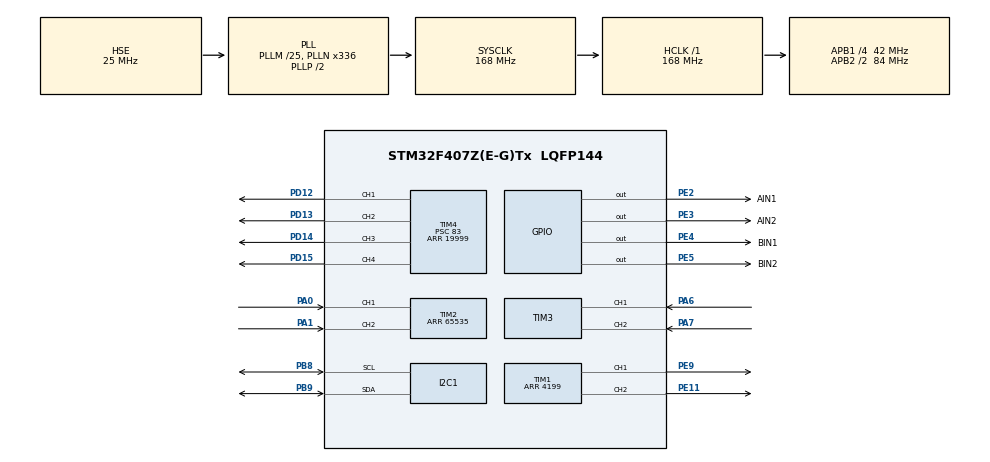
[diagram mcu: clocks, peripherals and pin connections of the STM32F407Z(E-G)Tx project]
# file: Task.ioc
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FREERTOS.Tasks01=ChassisTask,2,1024,StartChassisTask,Default,NULL,Dynamic,NULL,NULL;MissionTask,0,1024,StartMissionTask,Default,NULL,Dynamic,NULL,NULL
Mcu.Family=STM32F4
Mcu.Name=STM32F407Z(E-G)Tx
Mcu.Package=LQFP144
NVIC.PriorityGroup=NVIC_PRIORITYGROUP_4
NVIC.TIM6_DAC_IRQn=true\:15\:0\:false\:false\:true\:false\:false\:true\:true
NVIC.TimeBase=TIM6_DAC_IRQn
NVIC.TimeBaseIP=TIM6
PA0-WKUP.Signal=S_TIM2_CH1_ETR
PA1.Signal=S_TIM2_CH2
PA13.Mode=Serial_Wire
PA13.Signal=SYS_JTMS-SWDIO
PA14.Mode=Serial_Wire
PA14.Signal=SYS_JTCK-SWCLK
PA6.Signal=S_TIM3_CH1
PA7.Signal=S_TIM3_CH2
PB8.Mode=I2C
PB8.Signal=I2C1_SCL
PB9.Mode=I2C
PB9.Signal=I2C1_SDA
PD12.GPIO_Speed=GPIO_SPEED_FREQ_HIGH
PD12.Signal=S_TIM4_CH1
PD13.GPIO_Speed=GPIO_SPEED_FREQ_HIGH
PD13.Signal=S_TIM4_CH2
PD14.GPIO_Speed=GPIO_SPEED_FREQ_HIGH
PD14.Signal=S_TIM4_CH3
PD15.GPIO_Speed=GPIO_SPEED_FREQ_HIGH
PD15.Signal=S_TIM4_CH4
PE11.Signal=S_TIM1_CH2
PE2.GPIO_Label=AIN1
PE2.Signal=GPIO_Output
PE3.GPIO_Label=AIN2
PE3.Signal=GPIO_Output
PE4.GPIO_Label=BIN1
PE4.Signal=GPIO_Output
PE5.GPIO_Label=BIN2
PE5.Signal=GPIO_Output
PE9.Signal=S_TIM1_CH1
PH0-OSC_IN.Mode=HSE-External-Oscillator
PH0-OSC_IN.Signal=RCC_OSC_IN
PH1-OSC_OUT.Mode=HSE-External-Oscillator
PH1-OSC_OUT.Signal=RCC_OSC_OUT
ProjectManager.HeapSize=0x200
ProjectManager.StackSize=0x400
ProjectManager.TargetToolchain=MDK-ARM V5.32
RCC.48MHZClocksFreq_Value=84000000
RCC.AHBFreq_Value=168000000
RCC.APB1CLKDivider=RCC_HCLK_DIV4
RCC.APB1Freq_Value=42000000
RCC.APB1TimFreq_Value=84000000
RCC.APB2CLKDivider=RCC_HCLK_DIV2
RCC.APB2Freq_Value=84000000
RCC.APB2TimFreq_Value=168000000
RCC.CortexFreq_Value=168000000
RCC.HCLKFreq_Value=168000000
RCC.HSE_VALUE=25000000
RCC.HSI_VALUE=16000000
RCC.LSE_VALUE=32768
RCC.PLLM=25
RCC.PLLN=336
RCC.PLLSourceVirtual=RCC_PLLSOURCE_HSE
RCC.SYSCLKFreq_VALUE=168000000
RCC.SYSCLKSource=RCC_SYSCLKSOURCE_PLLCLK
RCC.VCOOutputFreq_Value=336000000
SH.S_TIM1_CH1.0=TIM1_CH1,Output Compare1 CH1
SH.S_TIM1_CH2.0=TIM1_CH2,Output Compare2 CH2
SH.S_TIM2_CH1_ETR.0=TIM2_CH1,Encoder_Interface
SH.S_TIM2_CH2.0=TIM2_CH2,Encoder_Interface
SH.S_TIM3_CH1.0=TIM3_CH1,Encoder_Interface
SH.S_TIM3_CH2.0=TIM3_CH2,Encoder_Interface
SH.S_TIM4_CH1.0=TIM4_CH1,PWM Generation1 CH1
SH.S_TIM4_CH2.0=TIM4_CH2,PWM Generation2 CH2
SH.S_TIM4_CH3.0=TIM4_CH3,PWM Generation3 CH3
SH.S_TIM4_CH4.0=TIM4_CH4,PWM Generation4 CH4
TIM1.Channel-Output\ Compare1\ CH1=TIM_CHANNEL_1
TIM1.Channel-Output\ Compare2\ CH2=TIM_CHANNEL_2
TIM1.Period=4199
TIM2.ClockDivision=TIM_CLOCKDIVISION_DIV1
TIM2.Period=65535
TIM4.Channel-PWM\ Generation1\ CH1=TIM_CHANNEL_1
TIM4.Channel-PWM\ Generation2\ CH2=TIM_CHANNEL_2
TIM4.Channel-PWM\ Generation3\ CH3=TIM_CHANNEL_3
TIM4.Channel-PWM\ Generation4\ CH4=TIM_CHANNEL_4
TIM4.Period=19999
TIM4.Prescaler=83
VP_FREERTOS_VS_CMSIS_V1.Mode=CMSIS_V1
VP_SYS_VS_tim6.Mode=TIM6
VP_TIM1_VS_ClockSourceINT.Mode=Internal
VP_TIM4_VS_ClockSourceINT.Mode=Internal
board=custom

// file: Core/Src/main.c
/* USER CODE BEGIN Header */
/**
  ******************************************************************************
  * @file           : main.c
  * @brief          : Main program body
  ******************************************************************************
  * @attention
  *
  * Copyright (c) 2026 STMicroelectronics.
  * All rights reserved.
  *
  * This software is licensed under terms that can be found in the LICENSE file
  * in the root directory of this software component.
  * If no LICENSE file comes with this software, it is provided AS-IS.
  *
  ******************************************************************************
  */
/* USER CODE END Header */
#include "main.h"
#include "cmsis_os.h"
#include "i2c.h"
#include "tim.h"
#include "gpio.h"

void SystemClock_Config(void);
void MX_FREERTOS_Init(void);

int main(void)
{

  /* MCU Configuration--------------------------------------------------------*/

  /* Reset of all peripherals, Initializes the Flash interface and the Systick. */
  HAL_Init();

  /* Configure the system clock */
  SystemClock_Config();

  /* Initialize all configured peripherals */
  MX_GPIO_Init();
  MX_TIM1_Init();
  MX_TIM2_Init();
  MX_TIM3_Init();
  MX_TIM4_Init();
  MX_I2C1_Init();
  /* USER CODE BEGIN 2 */

  // 高速模式
  GPIOE->OSPEEDR |= (3UL << 18) | (3UL << 22);

  // 3. 【核心修正】直接写定时器寄存器
  TIM1->CR1 = 0;              // 先关闭定时器，防干扰
  TIM1->PSC = 0;              // 分频 = 0 (168MHz)
  TIM1->ARR = 4199;           // 周期 = 4199 (40kHz)

  // 4. 【关键一步】产生更新事件 (Update Generation)
  // 这就像按下了 F5 刷新键，强制把 4199 写入影子寄存器，立即生效！
  TIM1->EGR = TIM_EGR_UG;

  // 5. 开启 PWM 通道
  // CCMR1: 配置 CH1/CH2 为 PWM 模式 1
  TIM1->CCMR1 &= ~TIM_CCMR1_OC1M; TIM1->CCMR1 |= (6UL << 4);  // CH1 PWM mode 1
  TIM1->CCMR1 &= ~TIM_CCMR1_OC2M; TIM1->CCMR1 |= (6UL << 12); // CH2 PWM mode 1
  // CCMR1: 开启预装载 (Preload enable)
  TIM1->CCMR1 |= TIM_CCMR1_OC1PE | TIM_CCMR1_OC2PE;

  // CCER: 开启输出使能 (Enable Output)
  TIM1->CCER |= TIM_CCER_CC1E | TIM_CCER_CC2E;

  // 6. 开启总开关 (BDTR MOE) 和 计数器 (CR1 CEN)
  TIM1->BDTR |= TIM_BDTR_MOE; // 主输出使能 (高级定时器必做!)
  TIM1->CR1  |= TIM_CR1_CEN;  // 开始计数

  // 7. 开启编码器 (TIM2/TIM3)
  HAL_TIM_Encoder_Start(&htim2, TIM_CHANNEL_ALL);
  HAL_TIM_Encoder_Start(&htim3, TIM_CHANNEL_ALL);

  /* USER CODE END 2 */

  /* Call init function for freertos objects (in cmsis_os2.c) */
  MX_FREERTOS_Init();

  /* Start scheduler */
  osKernelStart();

  /* We should never get here as control is now taken by the scheduler */

  /* Infinite loop */
  while (1)
  {

  }
}

void SystemClock_Config(void)
{
  RCC_OscInitTypeDef RCC_OscInitStruct = {0};
  RCC_ClkInitTypeDef RCC_ClkInitStruct = {0};

  /** Configure the main internal regulator output voltage
  */
  __HAL_RCC_PWR_CLK_ENABLE();
  __HAL_PWR_VOLTAGESCALING_CONFIG(PWR_REGULATOR_VOLTAGE_SCALE1);

  /** Initializes the RCC Oscillators according to the specified parameters
  * in the RCC_OscInitTypeDef structure.
  */
  RCC_OscInitStruct.OscillatorType = RCC_OSCILLATORTYPE_HSE;
  RCC_OscInitStruct.HSEState = RCC_HSE_ON;
  RCC_OscInitStruct.PLL.PLLState = RCC_PLL_ON;
  RCC_OscInitStruct.PLL.PLLSource = RCC_PLLSOURCE_HSE;
  RCC_OscInitStruct.PLL.PLLM = 25;
  RCC_OscInitStruct.PLL.PLLN = 336;
  RCC_OscInitStruct.PLL.PLLP = RCC_PLLP_DIV2;
  RCC_OscInitStruct.PLL.PLLQ = 4;
  if (HAL_RCC_OscConfig(&RCC_OscInitStruct) != HAL_OK)
  {
    Error_Handler();
  }

  /** Initializes the CPU, AHB and APB buses clocks
  */
  RCC_ClkInitStruct.ClockType = RCC_CLOCKTYPE_HCLK|RCC_CLOCKTYPE_SYSCLK
                              |RCC_CLOCKTYPE_PCLK1|RCC_CLOCKTYPE_PCLK2;
  RCC_ClkInitStruct.SYSCLKSource = RCC_SYSCLKSOURCE_PLLCLK;
  RCC_ClkInitStruct.AHBCLKDivider = RCC_SYSCLK_DIV1;
  RCC_ClkInitStruct.APB1CLKDivider = RCC_HCLK_DIV4;
  RCC_ClkInitStruct.APB2CLKDivider = RCC_HCLK_DIV2;

  if (HAL_RCC_ClockConfig(&RCC_ClkInitStruct, FLASH_LATENCY_5) != HAL_OK)
  {
    Error_Handler();
  }
}

void HAL_TIM_PeriodElapsedCallback(TIM_HandleTypeDef *htim)
{
  if (htim->Instance == TIM6)
  {
    HAL_IncTick();
  }
}

void Error_Handler(void)
{
  __disable_irq();
  while (1)
  {
  }
}

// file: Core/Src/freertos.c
/* USER CODE BEGIN Header */
/**
  ******************************************************************************
  * File Name          : freertos.c
  * Description        : Code for freertos applications
  ******************************************************************************
  * @attention
  *
  * Copyright (c) 2026 STMicroelectronics.
  * All rights reserved.
  *
  * This software is licensed under terms that can be found in the LICENSE file
  * in the root directory of this software component.
  * If no LICENSE file comes with this software, it is provided AS-IS.
  *
  ******************************************************************************
  */
/* USER CODE END Header */

#include "FreeRTOS.h"
#include "task.h"
#include "main.h"
#include "cmsis_os.h"

/* USER CODE BEGIN Includes */
#include "main.h"
#include "tim.h"
#include "gpio.h"
#include "motor.h"
/* USER CODE END Includes */

osThreadId ChassisTaskHandle;
osThreadId MissionTaskHandle;

void StartChassisTask(void const * argument);
void StartMissionTask(void const * argument);

void MX_FREERTOS_Init(void); /* (MISRA C 2004 rule 8.1) */

/* GetIdleTaskMemory prototype (linked to static allocation support) */
void vApplicationGetIdleTaskMemory( StaticTask_t **ppxIdleTaskTCBBuffer, StackType_t **ppxIdleTaskStackBuffer, uint32_t *pulIdleTaskStackSize );

/* USER CODE BEGIN GET_IDLE_TASK_MEMORY */
static StaticTask_t xIdleTaskTCBBuffer;
static StackType_t xIdleStack[configMINIMAL_STACK_SIZE];

void vApplicationGetIdleTaskMemory( StaticTask_t **ppxIdleTaskTCBBuffer, StackType_t **ppxIdleTaskStackBuffer, uint32_t *pulIdleTaskStackSize )
{
  *ppxIdleTaskTCBBuffer = &xIdleTaskTCBBuffer;
  *ppxIdleTaskStackBuffer = &xIdleStack[0];
  *pulIdleTaskStackSize = configMINIMAL_STACK_SIZE;
  /* place for user code */
}
/* USER CODE END GET_IDLE_TASK_MEMORY */

void MX_FREERTOS_Init(void) {

  /* Create the thread(s) */
  /* definition and creation of ChassisTask */
  osThreadDef(ChassisTask, StartChassisTask, osPriorityHigh, 0, 1024);
  ChassisTaskHandle = osThreadCreate(osThread(ChassisTask), NULL);

  /* definition and creation of MissionTask */
  osThreadDef(MissionTask, StartMissionTask, osPriorityNormal, 0, 1024);
  MissionTaskHandle = osThreadCreate(osThread(MissionTask), NULL);

}
